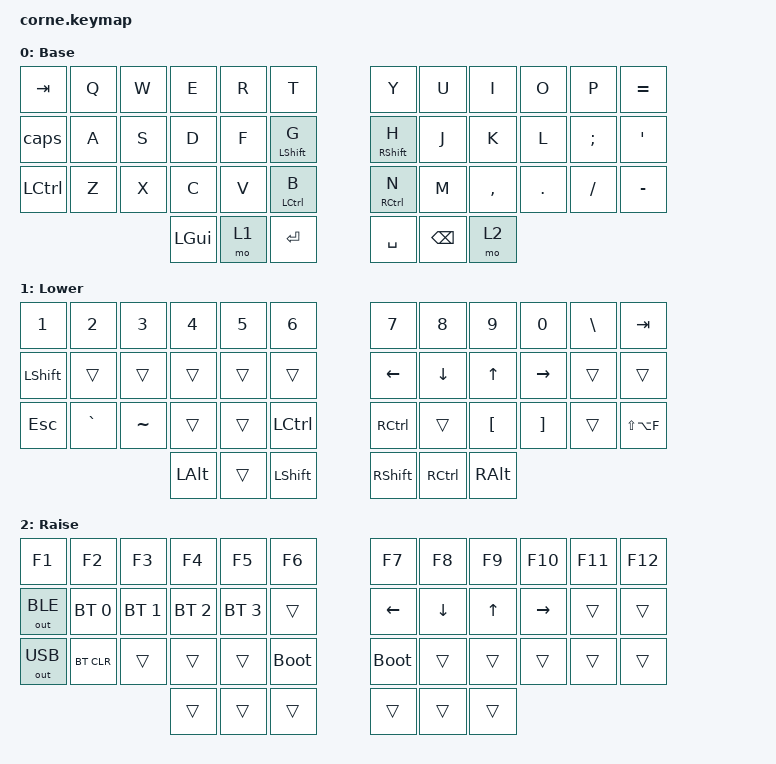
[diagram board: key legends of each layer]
/*
 * Copyright (c) 2020 The ZMK Contributors
 *a
 * SPDX-License-Identifier: MIT
 */

#include <dt-bindings/zmk/mouse.h>
#include <behaviors.dtsi>
#include <dt-bindings/zmk/bt.h>
#include <dt-bindings/zmk/keys.h>
#include <dt-bindings/zmk/outputs.h>

/ {
    behaviors {
        caps: caps_dance {
            compatible = "zmk,behavior-tap-dance";
            #binding-cells = <0>;
            tapping-term-ms = <200>;
            bindings = <&kp LSHFT>, <&kp CLCK>;
        };

        holdctrl: holdctrl {
            compatible = "zmk,behavior-hold-tap";
            label = "HOLDCTRL";
            bindings = <&kp>, <&kp>;

            #binding-cells = <2>;
            tapping-term-ms = <400>;
            flavor = "tap-preferred";
            quick-tap-ms = <400>;
            require-prior-idle-ms = <400>;
        };

        holdshft: holdshft {
            compatible = "zmk,behavior-hold-tap";
            label = "HOLDSHFT";
            bindings = <&kp>, <&kp>;

            #binding-cells = <2>;
            tapping-term-ms = <400>;
            flavor = "tap-preferred";
            quick-tap-ms = <400>;
            require-prior-idle-ms = <400>;
        };
    };

    keymap {
        compatible = "zmk,keymap";

        default_layer {
            display-name = "Base";
            bindings = <
&kp TAB    &kp Q  &kp W  &kp E     &kp R  &kp T                         &kp Y                      &kp U     &kp I      &kp O    &kp P     &kp EQUAL
&caps      &kp A  &kp S  &kp D     &kp F  &holdshft LSHFT G             &holdshft RSHFT H          &kp J     &kp K      &kp L    &kp SEMI  &kp SQT
&kp LCTRL  &kp Z  &kp X  &kp C     &kp V  &holdctrl LCTRL B             &holdctrl RCTRL N          &kp M     &kp COMMA  &kp DOT  &kp FSLH  &kp MINUS
                         &kp LGUI  &mo 1  &kp ENTER                     &kp SPACE                  &kp BSPC  &mo 2
            >;
        };

        lower_layer {
            display-name = "Lower";
            bindings = <
&kp N1     &kp N2     &kp N3     &kp N4    &kp N5  &kp N6       &kp N7     &kp N8     &kp N9    &kp N0     &kp BSLH  &kp TAB
&kp LSHFT  &trans     &trans     &trans    &trans  &trans       &kp LEFT   &kp DOWN   &kp UP    &kp RIGHT  &trans    &trans
&kp ESC    &kp GRAVE  &kp TILDE  &trans    &trans  &kp LCTRL    &kp RCTRL  &trans     &kp LBKT  &kp RBKT   &trans    &kp LS(LA(F))
                                 &kp LALT  &trans  &kp LSHFT    &kp RSHFT  &kp RCTRL  &kp RALT
            >;
        };

        raise_layer {
            display-name = "Raise";
            bindings = <
&kp F1        &kp F2        &kp F3        &kp F4        &kp F5        &kp F6         &kp F7       &kp F8    &kp F9  &kp F10    &kp F11  &kp F12
&out OUT_BLE  &bt BT_SEL 0  &bt BT_SEL 1  &bt BT_SEL 2  &bt BT_SEL 3  &trans         &kp LEFT     &kp DOWN  &kp UP  &kp RIGHT  &trans   &trans
&out OUT_USB  &bt BT_CLR    &trans        &trans        &trans        &bootloader    &bootloader  &trans    &trans  &trans     &trans   &trans
                                          &trans        &trans        &trans         &trans       &trans    &trans
            >;
        };

        extra_1 { status = "reserved"; };

        extra_2 { status = "reserved"; };

        extra_3 { status = "reserved"; };
    };
};
